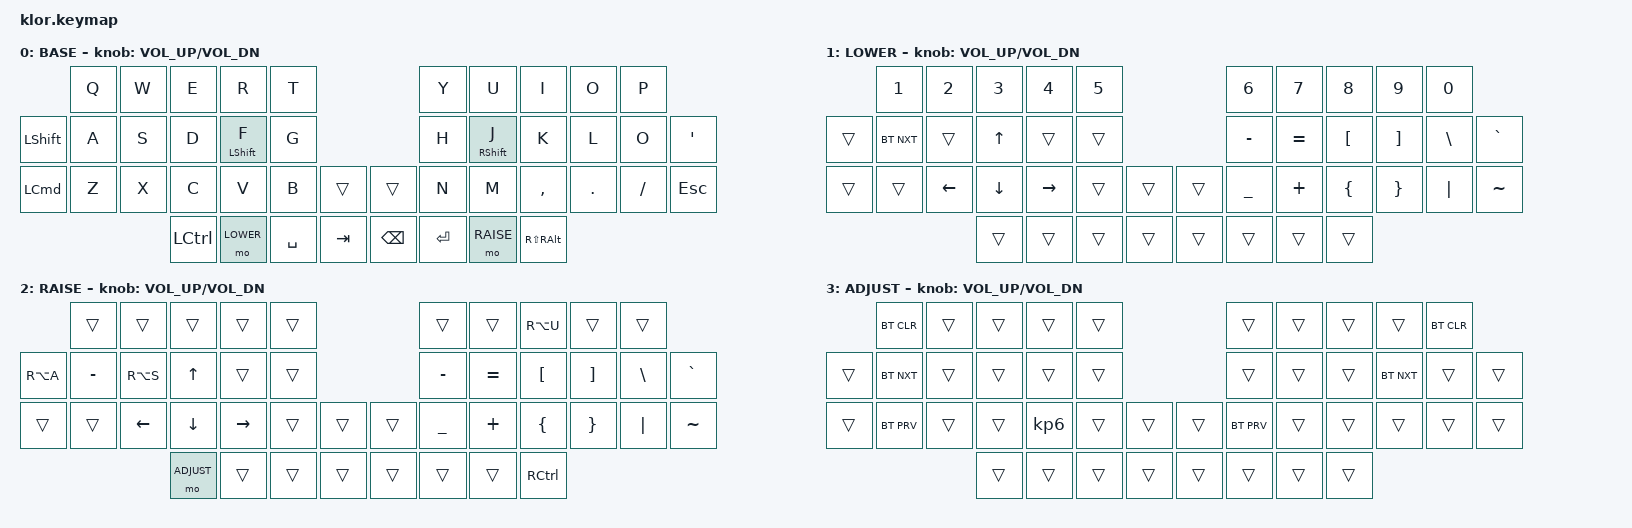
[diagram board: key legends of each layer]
//                               █         █    █            ▄▄▄▀▀▀▀▀▀▄▄▄        █▀▀▀▀▀▀▀▀▀▀█
//                               █        █     █          ▄▀            ▀▄      █          █
//                               █       █      █        ▄▀                ▀▄    █          █
//                               █      █       █        █                  █    █          █
//                               █     █        █       █                    █   █          █
//                               █    █         █       █                    █   █▄▄▄▄▄▄▄▄▄▄█
//                               █   █ █        █       █                    █   █      █
//                               █  █   █       █        █                  █    █       █
//                               █ █     █      █        ▀▄                ▄▀    █        █
//                               ██       █     █          ▀▄            ▄▀      █         █
//                               █         █    █▄▄▄▄▄▄▄▄    ▀▀▀▄▄▄▄▄▄▀▀▀        █          █
//
// ▄▄▄▄▄▄▄▄▄▄▄▄▄▄▄▄▄▄▄▄▄▄▄▄▄▄▄▄▄▄▄▄▄▄▄▄▄▄▄▄▄▄▄▄▄▄▄▄▄▄▄▄▄▄▄▄▄▄▄▄▄▄▄▄▄▄▄▄▄▄▄▄▄▄▄▄▄▄▄▄▄▄▄▄▄▄▄▄▄▄▄▄▄▄▄▄▄▄▄▄▄▄▄▄▄▄▄▄▄▄▄▄▄▄▄▄▄▄▄▄▄▄▄▄▄

#include <behaviors.dtsi>
#include <dt-bindings/zmk/bt.h>
#include <dt-bindings/zmk/keys.h>

#define BASE   0
#define LOWER  1
#define RAISE  2
#define ADJUST 3

/ {
    behaviors {
        hm: homerow_mods {
            compatible = "zmk,behavior-hold-tap";
            label = "HOMEROW_MODS";
            #binding-cells = <2>;
            tapping-term-ms = <150>;
            quick_tap_ms = <0>;
            flavor = "tap-preferred";
            bindings = <&kp>, <&kp>;
        };
    };

    combos {
        compatible = "zmk,combos";

        combo_esc {
            timeout-ms = <50>;
            key-positions = <0 1>;
            bindings = <&kp ESC>;
        };
    };

    keymap {
        compatible = "zmk,keymap";

        // ▄▄▄▄▄▄▄▄▄▄▄▄▄▄▄▄▄▄▄▄▄▄▄▄▄▄▄▄▄▄▄▄▄▄▄▄▄▄▄▄▄▄▄▄▄▄▄▄▄▄▄▄▄▄▄▄▄▄▄▄▄▄▄▄▄▄▄▄▄▄▄▄▄▄▄▄▄▄▄▄▄▄▄▄▄▄▄▄▄▄▄▄▄▄▄▄▄▄▄▄▄▄▄▄▄▄▄▄▄▄▄▄▄▄▄▄▄▄▄▄▄▄▄▄▄▄▄▄▄▄▄▄▄▄▄▄▄▄▄▄▄▄

        base_layer {
            // ┌───────────────────────────────────────────────────────────┐

            label = "BASE";

            // └───────────────────────────────────────────────────────────┘
            /*           ┌─────────┬─────────┬─────────┬─────────┬─────────┐                    ┌─────────┬─────────┬─────────┬─────────┬─────────┐
             │    Q    │    W    │    F    │    P    │    G    │                    │    J    │    L    │    U    │    Y    │    ;    │   
   ┌─────────┼─────────┼─────────┼─────────┼─────────┼─────────┤                    ├─────────┼─────────┼─────────┼─────────┼─────────┼─────────┐
   │   TAB   │    A    │    R    │    S    │    T    │    D    │                    │    H    │    N    │    E    │    I    │    O    │    "    │
   ├─────────┼─────────┼─────────┼─────────┼─────────┼─────────┤╭────────╮╭────────╮├─────────┼─────────┼─────────┼─────────┼─────────┼─────────┤
   │   DEL   │    Z    │    X    │    C    │    V    │    B    ││  MUTE  ││PLY/PSE ││    K    │    M    │    ,    │    .    │    /    │    \    │
   └─────────┴─────────┴─────────┼─────────┼─────────┼─────────┼╰────────╯╰────────╯┼─────────┼─────────┼─────────┼─────────┴─────────┴─────────┘
                                 │  CTRL   │  LOWER  │  SPACE  │   ALT   ││ CMD/WIN │  ENTER  │  RAISE  │  BSPCE  │  
                                 └─────────┴─────────┴─────────┴─────────┘└─────────┴─────────┴─────────┴─────────┘ */

            bindings = <
                  &kp Q  &kp W  &kp E      &kp R        &kp T                              &kp Y    &kp U        &kp I              &kp O    &kp P
&kp LEFT_SHIFT    &kp A  &kp S  &kp D      &hm LSHFT F  &kp G                              &kp H    &hm RSHFT J  &kp K              &kp L    &kp O     &kp SQT
&kp LEFT_COMMAND  &kp Z  &kp X  &kp C      &kp V        &kp B      &trans   &trans         &kp N    &kp M        &kp COMMA          &kp DOT  &kp FSLH  &kp ESC
                                &kp LCTRL  &mo LOWER    &kp SPACE  &kp TAB  &kp BACKSPACE  &kp RET  &mo RAISE    &kp RS(RIGHT_ALT)
            >;

            sensor-bindings = <&inc_dec_kp C_VOL_UP C_VOL_DN>;
        };

        // ▄▄▄▄▄▄▄▄▄▄▄▄▄▄▄▄▄▄▄▄▄▄▄▄▄▄▄▄▄▄▄▄▄▄▄▄▄▄▄▄▄▄▄▄▄▄▄▄▄▄▄▄▄▄▄▄▄▄▄▄▄▄▄▄▄▄▄▄▄▄▄▄▄▄▄▄▄▄▄▄▄▄▄▄▄▄▄▄▄▄▄▄▄▄▄▄▄▄▄▄▄▄▄▄▄▄▄▄▄▄▄▄▄▄▄▄▄▄▄▄▄▄▄▄▄▄▄▄▄▄▄▄▄▄▄▄▄▄▄▄▄▄

        lower_layer {
            // ┌───────────────────────────────────────────────────────────┐

            label = "LOWER";

            // └───────────────────────────────────────────────────────────┘
            /*           ┌─────────┬─────────┬─────────┬─────────┬─────────┐                    ┌─────────┬─────────┬─────────┬─────────┬─────────┐
             │         │         │    UP   │         │    {    │                    │    }    │    7    │    8    │    9    │    +    │
   ┌─────────┼─────────┼─────────┼─────────┼─────────┼─────────┤                    ├─────────┼─────────┼─────────┼─────────┼─────────┼─────────┐
   │         │         │   LEFT  │  DOWN   │  RIGHT  │    [    │                    │    ]    │    4    │    5    │    6    │    -    │         │
   ├─────────┼─────────┼─────────┼─────────┼─────────┼─────────┤╭────────╮╭────────╮├─────────┼─────────┼─────────┼─────────┼─────────┼─────────┤
   │         │         │   P UP  │ C LOCK  │ P DOWN  │    (    ││        ││        ││    )    │    1    │    2    │    3    │    *    │         │
   └─────────┴─────────┴─────────┼─────────┼─────────┼─────────┼╰────────╯╰────────╯┼─────────┼─────────┼─────────┼─────────┴─────────┴─────────┘
                                 │         │         │         │         ││         │         │    0    │         │  
                                 └─────────┴─────────┴─────────┴─────────┘└─────────┴─────────┴─────────┴─────────┘ */

            bindings = <
        &kp NUMBER_1  &kp NUMBER_2    &kp NUMBER_3    &kp NUMBER_4     &kp NUMBER_5                  &kp NUMBER_6    &kp NUMBER_7  &kp NUMBER_8      &kp NUMBER_9       &kp NUMBER_0
&trans  &bt BT_NXT    &trans          &kp UP_ARROW    &trans           &trans                        &kp MINUS       &kp EQUAL     &kp LEFT_BRACKET  &kp RIGHT_BRACKET  &kp BACKSLASH  &kp GRAVE
&trans  &trans        &kp LEFT_ARROW  &kp DOWN_ARROW  &kp RIGHT_ARROW  &trans        &trans  &trans  &kp UNDERSCORE  &kp PLUS      &kp LEFT_BRACE    &kp RIGHT_BRACE    &kp PIPE       &kp TILDE
                                      &trans          &trans           &trans        &trans  &trans  &trans          &trans        &trans
            >;

            sensor-bindings = <&inc_dec_kp C_VOL_UP C_VOL_DN>;
        };

        // ▄▄▄▄▄▄▄▄▄▄▄▄▄▄▄▄▄▄▄▄▄▄▄▄▄▄▄▄▄▄▄▄▄▄▄▄▄▄▄▄▄▄▄▄▄▄▄▄▄▄▄▄▄▄▄▄▄▄▄▄▄▄▄▄▄▄▄▄▄▄▄▄▄▄▄▄▄▄▄▄▄▄▄▄▄▄▄▄▄▄▄▄▄▄▄▄▄▄▄▄▄▄▄▄▄▄▄▄▄▄▄▄▄▄▄▄▄▄▄▄▄▄▄▄▄

        raise_layer {
            // ┌───────────────────────────────────────────────────────────┐

            label = "RAISE";

            // └───────────────────────────────────────────────────────────┘
            /*           ┌─────────┬─────────┬─────────┬─────────┬─────────┐                    ┌─────────┬─────────┬─────────┬─────────┬─────────┐
             │         │         │         │         │         │                    │         │         │    Ü    │         │         │
   ┌─────────┼─────────┼─────────┼─────────┼─────────┼─────────┤                    ├─────────┼─────────┼─────────┼─────────┼─────────┼─────────┐
   │    Ä    │         │    ß    │         │         │         │                    │         │         │         │         │    Ö    │         │
   ├─────────┼─────────┼─────────┼─────────┼─────────┼─────────┤╭────────╮╭────────╮├─────────┼─────────┼─────────┼─────────┼─────────┼─────────┤
   │         │         │         │         │         │         ││        ││        ││         │         │         │         │         │         │
   └─────────┴─────────┴─────────┼─────────┼─────────┼─────────┼╰────────╯╰────────╯┼─────────┼─────────┼─────────┼─────────┴─────────┴─────────┘
                                 │ ADJUST  │         │         │         ││         │         │         │         │  
                                 └─────────┴─────────┴─────────┴─────────┘└─────────┴─────────┴─────────┴─────────┘ */

            bindings = <
           &trans     &trans          &trans          &trans           &trans                  &trans     &trans     &kp RA(U)          &trans             &trans
&kp RA(A)  &kp MINUS  &kp RA(S)       &kp UP_ARROW    &trans           &trans                  &kp MINUS  &kp EQUAL  &kp LEFT_BRACKET   &kp RIGHT_BRACKET  &kp BACKSLASH  &kp GRAVE
&trans     &trans     &kp LEFT_ARROW  &kp DOWN_ARROW  &kp RIGHT_ARROW  &trans  &trans  &trans  &kp UNDER  &kp PLUS   &kp LEFT_BRACE     &kp RIGHT_BRACE    &kp PIPE       &kp TILDE
                                      &mo ADJUST      &trans           &trans  &trans  &trans  &trans     &trans     &kp RIGHT_CONTROL
            >;

            sensor-bindings = <&inc_dec_kp C_VOL_UP C_VOL_DN>;
        };

        // ▄▄▄▄▄▄▄▄▄▄▄▄▄▄▄▄▄▄▄▄▄▄▄▄▄▄▄▄▄▄▄▄▄▄▄▄▄▄▄▄▄▄▄▄▄▄▄▄▄▄▄▄▄▄▄▄▄▄▄▄▄▄▄▄▄▄▄▄▄▄▄▄▄▄▄▄▄▄▄▄▄▄▄▄▄▄▄▄▄▄▄▄▄▄▄▄▄▄▄▄▄▄▄▄▄▄▄▄▄▄▄▄▄▄▄▄▄▄▄▄▄▄▄▄▄

        adjust_layer {
            // ┌───────────────────────────────────────────────────────────┐

            label = "ADJUST";

            // └───────────────────────────────────────────────────────────┘
            /*           ┌─────────┬─────────┬─────────┬─────────┬─────────┐                    ┌─────────┬─────────┬─────────┬─────────┬─────────┐
             │         │         │         │         │         │                    │         │         │         │         │         │
   ┌─────────┼─────────┼─────────┼─────────┼─────────┼─────────┤                    ├─────────┼─────────┼─────────┼─────────┼─────────┼─────────┐
   │         │         │         │         │         │         │                    │         │         │         │         │         │         │
   ├─────────┼─────────┼─────────┼─────────┼─────────┼─────────┤╭────────╮╭────────╮├─────────┼─────────┼─────────┼─────────┼─────────┼─────────┤
   │         │         │         │         │         │         ││        ││        ││         │         │         │         │         │         │
   └─────────┴─────────┴─────────┼─────────┼─────────┼─────────┼╰────────╯╰────────╯┼─────────┼─────────┼─────────┼─────────┴─────────┴─────────┘
                                 │         │         │         │         ││         │         │         │         │  
                                 └─────────┴─────────┴─────────┴─────────┘└─────────┴─────────┴─────────┴─────────┘ */

            bindings = <
        &bt BT_CLR  &trans  &trans  &trans     &trans                  &trans      &trans  &trans  &trans      &bt BT_CLR
&trans  &bt BT_NXT  &trans  &trans  &trans     &trans                  &trans      &trans  &trans  &bt BT_NXT  &trans      &trans
&trans  &bt BT_PRV  &trans  &trans  &kp KP_N6  &trans  &trans  &trans  &bt BT_PRV  &trans  &trans  &trans      &trans      &trans
                            &trans  &trans     &trans  &trans  &trans  &trans      &trans  &trans
            >;

            sensor-bindings = <&inc_dec_kp C_VOL_UP C_VOL_DN>;
        };
    };
};
